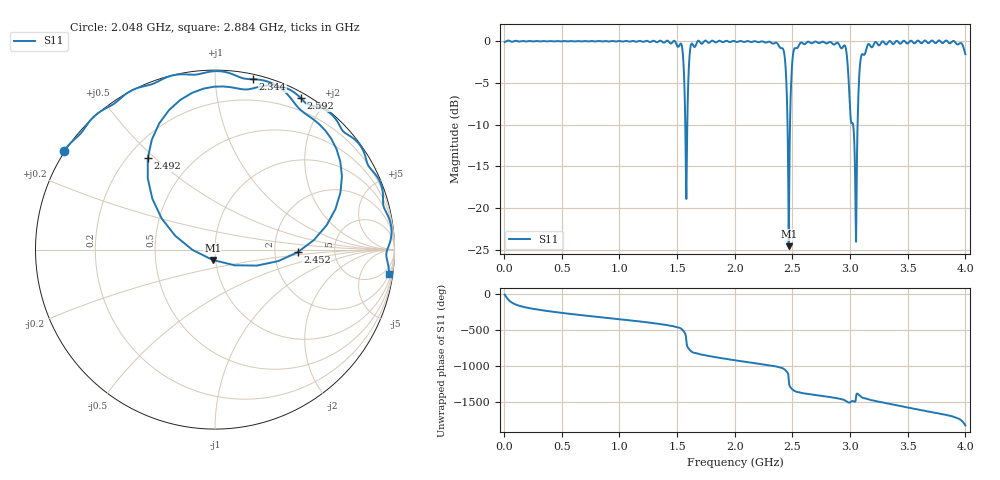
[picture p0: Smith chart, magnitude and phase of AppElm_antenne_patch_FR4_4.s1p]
! TOUCHSTONE file generated by CST MICROWAVE STUDIO
! Date and time: Tue Jun 14 12:33:46 2022
! Project name: AppElm_antenne_patch_FR4.cst
! Parameters = {L=45; W=58.5; e=0.035; h=1.6; lambda=0.190476; ls=120; w0=2.54; w1=0.76225; ws=120; y0=18; y1=23.8}
! Header version: 2018
! Port assignment regex: !\s*Touchstone port\s*([0-9]+)\s*=\s*(CST MWS port|CST DS port)\s*([0-9]+|Zmin|Zmax)\s*\(\"(.*)\"\)(\s*mode\s*([0-9]+))?.*
! Touchstone port assignment:
! Touchstone port 1 = CST MWS port 1 ("")
# GHz S MA R 50
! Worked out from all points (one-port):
!   1000 points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, 4 MHz to 4 GHz, reference 50 ohm
!   lowest |S11| = -24.6 dB at 2.468 GHz (marker M1), VSWR 1.13, Z = 48.4 - j5.62 ohm
!   |S11| at or under -10 dB: 1.571 GHz to 1.588 GHz (17.48 MHz wide, 1.11 % of centre); 2.457 GHz to 2.479 GHz (21.72 MHz wide, 0.88 % of centre); 3.026 GHz to 3.065 GHz (39.11 MHz wide, 1.28 % of centre)
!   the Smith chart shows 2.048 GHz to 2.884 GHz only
!   S11 on the Smith chart (normalised r, x): 2.048 GHz: -0.00, +0.30; 2.344 GHz: 0.04, +1.25; 2.452 GHz: 2.70, -0.10; 2.492 GHz: 0.28, +0.47; 2.592 GHz: 0.06, +1.72; 2.884 GHz: 2, -14
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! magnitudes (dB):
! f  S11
! 4 MHz  -0.1
! 504 MHz  0.0
! 1.004 GHz  0.0
! 1.504 GHz  -0.6
! 1.544 GHz  -0.8
! 1.58 GHz  -18.9
! 1.612 GHz  -1.1
! 1.632 GHz  -0.3
! 2.004 GHz  0.0
! 2.048 GHz  0.0
! 2.344 GHz  -0.2
! 2.424 GHz  -1.1
! 2.44 GHz  -3.0
! 2.452 GHz  -6.7
! 2.468 GHz  -24.6
! 2.48 GHz  -9.2
! 2.492 GHz  -4.0
! 2.504 GHz  -1.7
! 2.592 GHz  -0.3
! 2.884 GHz  -0.2
! 2.96 GHz  -0.7
! 3.004 GHz  -9.1
! 3.044 GHz  -16.5
! 3.064 GHz  -10.6
! 3.088 GHz  -2.6
! 3.108 GHz  -1.5
! 3.504 GHz  -0.2
! 4 GHz  -1.5
